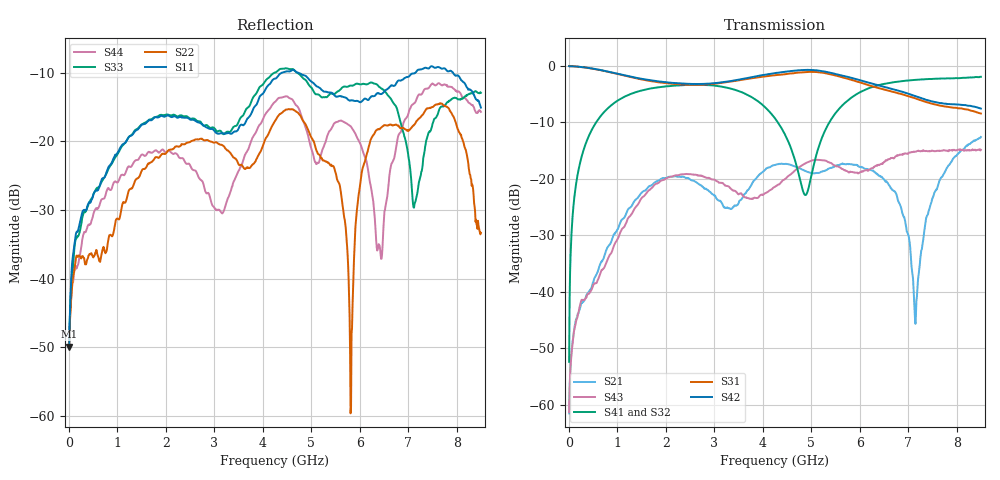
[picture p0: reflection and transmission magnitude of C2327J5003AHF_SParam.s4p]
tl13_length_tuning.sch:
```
<Qucs Schematic 0.0.20>
<Properties>
  <View=-733,-237,1579,1298,1.1,514,85>
  <Grid=10,10,1>
  <DataSet=tl13_length_tuning.dat>
  <DataDisplay=tl13_length_tuning.dpl>
  <OpenDisplay=1>
  <Script=tl13_length_tuning.m>
  <RunScript=1>
  <showFrame=0>
  <FrameText0=Title>
  <FrameText1=Drawn By:>
  <FrameText2=Date:>
  <FrameText3=Revision:>
</Properties>
<Symbol>
  <.ID -20 -16 SUB>
  <Line -20 20 40 0 #000080 2 1>
  <Line 20 20 0 -40 #000080 2 1>
  <Line -20 -20 40 0 #000080 2 1>
  <Line -20 20 0 -40 #000080 2 1>
</Symbol>
<Components>
  <C C1 1 190 480 -32 -72 0 0 "100 pF" 1 "" 0 "neutral" 0>
  <C C2 1 190 690 -26 17 0 0 "100 pF" 1 "" 0 "neutral" 0>
  <GND * 5 120 830 0 0 0 0>
  <GND * 5 60 600 0 0 0 0>
  <GND * 5 750 590 0 0 0 0>
  <GND * 5 750 790 0 0 0 0>
  <Pac P1 1 60 540 18 -26 0 1 "1" 1 "50 Ohm" 1 "0 dBm" 0 "2.45 GHz" 0 "26.85" 0>
  <Pac P2 1 120 770 18 -26 0 1 "2" 1 "50 Ohm" 1 "-100 dBm" 0 "2.45 GHz" 0 "26.85" 0>
  <GND * 5 480 630 0 0 0 0>
  <Vdc V1 1 410 380 -95 -25 0 1 "v_bias" 1>
  <GND * 5 410 430 0 0 0 0>
  <SPfile X8 1 380 580 -117 118 1 3 "./sim_lib/C2327J5003AHF_SParam.s4p" 1 "rectangular" 0 "linear" 0 "unspecified" 0 "4" 0>
  <TLIN Line3 1 640 690 -26 20 0 0 "z_tl13" 1 "tl_length" 1 "0 dB" 0 "26.85" 0>
  <TLIN Line1 1 640 480 -26 20 0 0 "z_tl13" 1 "tl_length" 1 "0 dB" 0 "26.85" 0>
  <TLIN Line2 1 830 480 -26 20 0 0 "z_tl24" 1 "custom_length" 1 "0 dB" 0 "26.85" 0>
  <TLIN Line4 1 830 690 -26 20 0 0 "z_tl24" 1 "custom_length" 1 "0 dB" 0 "26.85" 0>
  <L L2 1 452 398 10 -26 0 1 "220 nH" 1 "" 0>
  <L L1 1 550 400 10 -26 0 1 "220 nH" 1 "" 0>
  <SUBST Subst1 1 50 -40 -30 24 0 0 "4.5" 1 "0.6 mm" 1 "35 um" 1 "0.03" 1 "0.022e-6" 1 "2.388e-3" 1>
  <.DC DC1 1 390 -80 0 49 0 0 "26.85" 0 "0.001" 0 "1 pA" 0 "1 uV" 0 "no" 0 "150" 0 "no" 0 "none" 0 "CroutLU" 0>
  <.AC AC1 1 390 10 0 49 0 0 "lin" 1 "2.40 GHz" 1 "2.50 GHz" 1 "3" 1 "no" 0>
  <.SW SW1 1 780 -80 0 83 0 0 "SW2" 1 "lin" 1 "v_bias" 1 "0 V" 1 "3.3 V" 1 "111" 1>
  <Eqn Eqn1 1 1130 -70 -31 19 0 0 "phase_shift=rad2deg(angle(out.v) - angle(in.v))" 1 "attenuation=dB(mag(out.v)/mag(in.v))" 1 "yes" 0>
  <.SP SP1 0 930 -80 0 83 0 0 "lin" 1 "2.0 GHz" 1 "3.0 GHz" 1 "1001" 1 "no" 0 "1" 0 "2" 0 "no" 0 "no" 0>
  <Eqn S_param_db_calc 0 960 140 -31 19 0 0 "dBS11=dB(S[1,1])" 1 "dBS12=dB(S[1,2])" 1 "dBS21=dB(S[2,1])" 1 "dBS22=dB(S[2,2])" 1 "yes" 0>
  <GND * 5 990 590 0 0 0 0>
  <GND * 5 990 790 0 0 0 0>
  <Eqn Transmission_line_params 1 190 -80 -31 19 0 0 "z_tl24=30" 1 "z_tl13=30" 1 "yes" 0>
  <Sub SUB1 1 750 540 -15 -123 0 1 "SMV1763-079LF.sch" 1>
  <Sub SUB3 1 990 530 19 -18 0 1 "SMV1763-079LF.sch" 1>
  <Sub SUB4 1 990 740 21 -17 0 1 "SMV1763-079LF.sch" 1>
  <Sub SUB2 1 750 740 -16 82 0 1 "SMV1763-079LF.sch" 1>
  <Eqn TL_length 1 190 120 -31 19 0 0 "center_freq=2.45e+9" 1 "c0=299792458" 1 "wavelength=c0/center_freq" 1 "tl_length=frac_of_lambda*wavelength" 1 "quarter_wavelength=0.25*wavelength" 1 "custom_length=0.1*wavelength" 1 "yes" 0>
  <.SW SW2 1 580 -80 0 83 0 0 "AC1" 1 "lin" 1 "frac_of_lambda" 1 "0.25" 1 "0.3" 1 "6" 1>
</Components>
<Wires>
  <750 480 750 520 "" 0 0 0 "">
  <750 570 750 590 "" 0 0 0 "">
  <750 770 750 790 "" 0 0 0 "">
  <750 690 750 720 "" 0 0 0 "">
  <60 570 60 600 "" 0 0 0 "">
  <60 480 160 480 "in" 30 440 0 "">
  <60 480 60 510 "" 0 0 0 "">
  <120 800 120 830 "" 0 0 0 "">
  <120 690 160 690 "" 0 0 0 "">
  <120 690 120 740 "" 0 0 0 "">
  <480 580 480 630 "" 0 0 0 "">
  <440 580 480 580 "" 0 0 0 "">
  <410 610 410 690 "" 0 0 0 "">
  <410 480 410 550 "" 0 0 0 "">
  <220 690 350 690 "" 0 0 0 "">
  <350 610 350 690 "" 0 0 0 "">
  <220 480 350 480 "" 0 0 0 "">
  <350 480 350 550 "" 0 0 0 "">
  <410 330 452 330 "" 0 0 0 "">
  <410 410 410 430 "" 0 0 0 "">
  <410 330 410 350 "" 0 0 0 "">
  <410 480 452 480 "" 0 0 0 "">
  <410 690 550 690 "" 0 0 0 "">
  <750 480 800 480 "" 0 0 0 "">
  <670 690 750 690 "" 0 0 0 "">
  <750 690 800 690 "" 0 0 0 "">
  <670 480 750 480 "" 0 0 0 "">
  <452 330 452 368 "" 0 0 0 "">
  <452 480 610 480 "" 0 0 0 "">
  <452 428 452 480 "" 0 0 0 "">
  <452 330 550 330 "" 0 0 0 "">
  <550 330 550 370 "" 0 0 0 "">
  <550 690 610 690 "" 0 0 0 "">
  <550 430 550 690 "" 0 0 0 "">
  <860 690 990 690 "" 0 0 0 "">
  <860 480 990 480 "" 0 0 0 "">
  <990 560 990 590 "" 0 0 0 "">
  <990 770 990 790 "" 0 0 0 "">
  <990 480 990 510 "" 0 0 0 "">
  <990 690 990 720 "" 0 0 0 "">
  <120 690 120 690 "out" 80 650 0 "">
  <550 330 550 330 "bias" 560 290 0 "">
</Wires>
<Diagrams>
</Diagrams>
<Paintings>
</Paintings>
```
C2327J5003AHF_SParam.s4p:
! Port 1 = Pin 1 = Input
! Port 2 = Pin 3 = Isolated Port
! Port 3 = Pin 4 = Direct Port
! Port 4 = Pin 6 = Coupled Port
# MHZ S DB R 50
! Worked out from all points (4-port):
!   851 points, 3 MHz to 8.5 GHz, reference 50 ohm
!   strongest paths, dB at 3 MHz, 2.122 GHz, 4.252 GHz, 6.381 GHz, 8.5 GHz:
!     S42: 0.0, -3.0, -1.3, -3.4, -7.5
!     S31: 0.0, -3.1, -1.6, -3.9, -8.4
!     S41: -52.4, -3.5, -9.3, -3.4, -1.9
!     S32: -52.4, -3.5, -9.3, -3.6, -2.2
!     S43: -61.4, -19.6, -21.4, -17.5, -14.9
!     S21: -61.5, -19.6, -17.5, -19.3, -12.6
!   lowest |S11| = -49.9 dB at 3 MHz (marker M1), VSWR 1.01, Z = 50.3 + j0.119 ohm
!   |S11| at or under -10 dB: start of sweep to 4.39 GHz; 4.732 GHz to 7.148 GHz (2.416 GHz wide, 40.7 % of centre); 7.925 GHz to end of sweep
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3  -49.91 21.7  -61.27 -141.1  -0.03 -0.3  -52.40 73.9
   -61.51 -138.2  -50.00 18.0  -52.46 74.3  -0.03 -0.3
   -0.03 -0.3  -52.41 74.3  -49.76 19.9  -61.57 -140.6
   -52.40 74.2  -0.04 -0.3  -61.36 -139.9  -49.65 18.0
1042.633  -21.13 18.1  -28.05 -170.0  -1.49 -52.5  -5.93 37.7
          -28.10 -170.1  -31.25 22.8  -5.91 37.0  -1.45 -51.7
          -1.49 -52.5  -5.91 36.9  -21.32 17.3  -29.84 175.0
          -5.93 37.6  -1.45 -51.8  -29.83 174.7  -25.43 -25.7
8500  -15.07 -74.3  -12.51 -143.5  -8.40 57.3  -1.94 -24.4
      -12.58 -143.9  -33.30 6.8  -2.18 -44.3  -7.52 61.1
      -8.42 57.1  -2.21 -44.3  -12.92 -24.9  -14.80 -99.5
      -1.92 -24.4  -7.55 60.8  -14.85 -99.4  -15.70 -39.5
